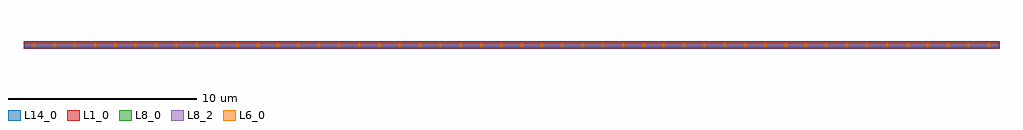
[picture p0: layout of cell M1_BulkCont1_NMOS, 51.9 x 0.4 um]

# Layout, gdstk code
import gdstk
lib = gdstk.Library(unit=1e-6, precision=1e-09)
def R(c, l, rs):  # rectangles x0, y0, x1, y1
    for r in rs: c.add(gdstk.rectangle(r[:2], r[2:], *l))
L1_0 = (1, 0)
L6_0 = (6, 0)
L8_0 = (8, 0)
L8_2 = (8, 2)
L14_0 = (14, 0)

m1_cont1_nmos = lib.new_cell('M1_Cont1_NMOS')
R(m1_cont1_nmos, L1_0, [(-0.53,-0.175,0.55,0.165)])
R(m1_cont1_nmos, L6_0, [(-0.07,-0.085,0.09,0.075)])
R(m1_cont1_nmos, L8_0, [(-0.53,-0.085,0.55,0.075)])
R(m1_cont1_nmos, L8_2, [(-0.53,-0.085,0.55,0.075)])
R(m1_cont1_nmos, L14_0, [(-0.56,-0.205,0.58,0.195)])

m1_bulkcont1_nmos = lib.new_cell('M1_BulkCont1_NMOS')
r = gdstk.Reference(m1_cont1_nmos, (0.005,0.01)); r.repetition = gdstk.Repetition(48, 1, v1=(1.08,0), v2=(0,0)); m1_bulkcont1_nmos.add(r)

lib.write_gds('M1_BulkCont1_NMOS.gds')
